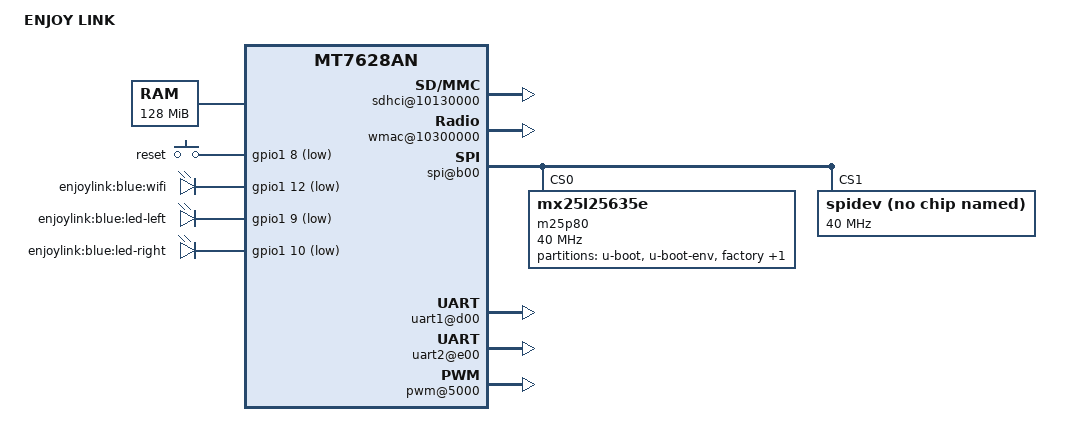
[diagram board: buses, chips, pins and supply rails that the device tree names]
/dts-v1/;

/include/ "mt7628an.dtsi"

/ {
	compatible = "mediatek,linkit", "mediatek,mt7628an-soc";
	model = "ENJOY LINK";

	chosen {
		bootargs = "console=ttyS0,57600";
	};

	memory@0 {
		device_type = "memory";
		reg = <0x0 0x8000000>;
	};

	pinctrl {
		state_default: pinctrl0 {
			gpio {
				ralink,group = "gpio";
				ralink,function = "gpio";
			};
		};
	};

	gpio-keys-polled {
		compatible = "gpio-keys-polled";
		#address-cells = <1>;
		#size-cells = <0>;
		poll-interval = <20>;

		reset {
			label = "reset";
			gpios = <&gpio1 8 1>;
			linux,code = <0x198>;
		};
	};

	gpio-leds {
		compatible = "gpio-leds";

		wifi {
			label = "enjoylink:blue:wifi";
			gpios = <&gpio1 12 1>;
		};

		led-left {
			label = "enjoylink:blue:led-left";
			gpios = <&gpio1 9 1>;
		};

		led-right {
			label = "enjoylink:blue:led-right";
			gpios = <&gpio1 10 1>;
		};
	};

    sdhci@10130000 {
        status = "okay";
        mediatek,cd-high;
    };

	ethernet@10100000 {
		mtd-mac-address = <&factory 0x28>;
	};

	bootstrap {
		compatible = "mediatek,linkit";

		status = "okay";
	};

	wmac@10300000 {
		status = "okay";
		ralink,mtd-eeprom = <&factory 0>;
	};

	palmbus@10000000 {
		spi@b00 {
			status = "okay";

			pinctrl-names = "default";
			pinctrl-0 = <&spi_pins>, <&spi_cs1_pins>;

			m25p80@0 {
				#address-cells = <1>;
				#size-cells = <1>;
				compatible = "mx25l25635e";
				reg = <0 0>;
				linux,modalias = "m25p80", "mx25l25635e";
				spi-max-frequency = <40000000>;
				m25p,chunked-io = <31>;

				partition@0 {
					label = "u-boot";
					reg = <0x0 0x30000>;
					read-only;
				};

				partition@30000 {
					label = "u-boot-env";
					reg = <0x30000 0x10000>;
				};

				factory: partition@40000 {
					label = "factory";
					reg = <0x40000 0x10000>;
					read-only;
				};

				partition@50000 {
					label = "firmware";
					reg = <0x50000 0x1fb0000>;
				};
			};

			spidev@1 {
				#address-cells = <1>;
				#size-cells = <1>;
				compatible = "spidev";
				reg = <1 0>;
				spi-max-frequency = <40000000>;
			};
		};

		uart1@d00 {
			status = "okay";
		};

		uart1@d00 {
			status = "okay";
		};

		uart2@e00 {
			status = "okay";
		};

		pwm@5000 {
			status = "okay";
		};
	};
};
